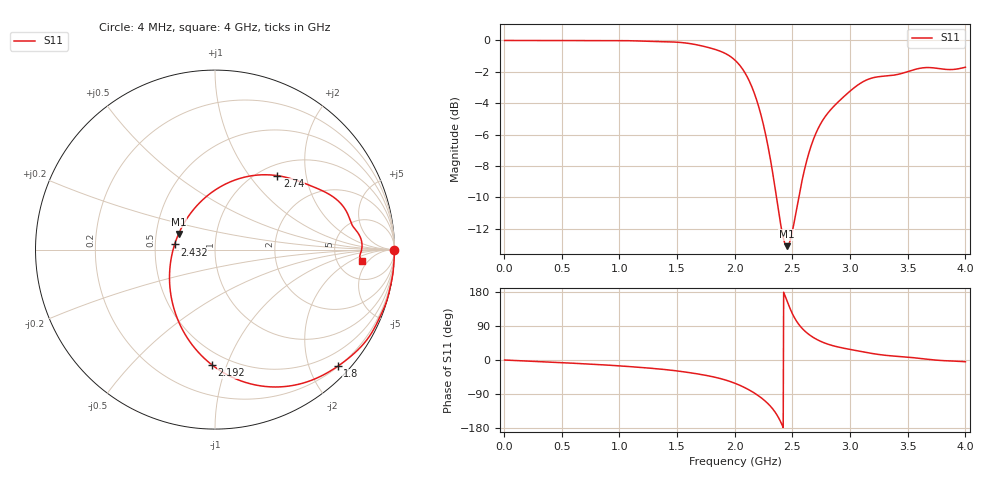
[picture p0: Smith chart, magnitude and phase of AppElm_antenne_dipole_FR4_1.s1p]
! TOUCHSTONE file generated by CST MICROWAVE STUDIO
! Date and time: Thu May 12 18:27:52 2022
! Project name: AppElm_antenne_dipole_FR4.cst
! Parameters = {L=38.8; e=0.035; f=2.45e+09; h=1.6; i=0.8; l1=4; lambda=122.449; ls=22.5; wl=1.7; ws=80}
! Header version: 2018
! Port assignment regex: !\s*Touchstone port\s*([0-9]+)\s*=\s*(CST MWS port|CST DS port)\s*([0-9]+|Zmin|Zmax)\s*\(\"(.*)\"\)(\s*mode\s*([0-9]+))?.*
! Touchstone port assignment:
! Touchstone port 1 = CST MWS port 1 ("")
# GHz S MA R 50
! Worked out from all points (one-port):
!   1000 points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, 4 MHz to 4 GHz, reference 50 ohm
!   lowest |S11| = -13.1 dB at 2.452 GHz (marker M1), VSWR 1.57, Z = 32.7 + j5.94 ohm
!   |S11| at or under -10 dB: 2.362 GHz to 2.555 GHz (192.9 MHz wide, 7.85 % of centre)
!   S11 on the Smith chart (normalised r, x): 4 MHz: open; 1.8 GHz: 0.21, -2.48; 2.192 GHz: 0.41, -0.89; 2.432 GHz: 0.63, +0.04; 2.74 GHz: 1.19, +1.38; 4 GHz: 8.76, -3.54
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0.004  0.9999 -0.1
0.504  1 -7.1
1.004  0.9989 -15.6
1.504  0.9871 -29.0
1.656  0.9709 -35.6
1.8  0.9432 -43.6
1.908  0.9127 -51.8
2.004  0.8638 -61.7
2.104  0.7703 -75.6
2.192  0.6419 -91.6
2.26  0.5162 -107.3
2.32  0.3959 -125.7
2.376  0.2919 -150.2
2.432  0.2268 172.7
2.452  0.2209 157.0
2.504  0.2509 119.5
2.556  0.3181 93.6
2.612  0.3975 75.1
2.672  0.4726 61.3
2.74  0.5387 49.9
2.844  0.6085 38.3
3.004  0.6916 27.6
3.196  0.7601 17.0
3.324  0.7711 11.8
3.504  0.7964 7.4
3.64  0.8186 3.0
3.764  0.8142 -0.7
4  0.8216 -4.6
